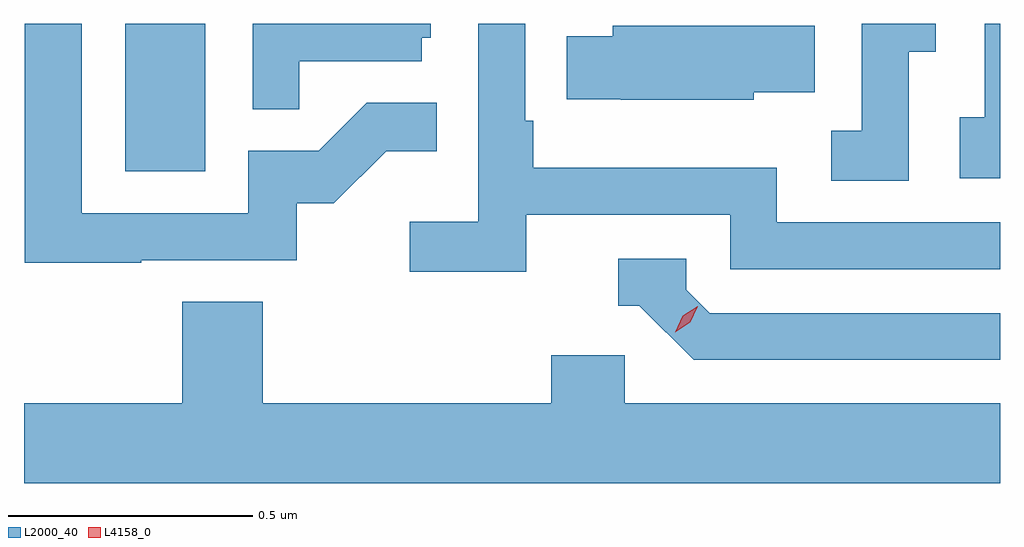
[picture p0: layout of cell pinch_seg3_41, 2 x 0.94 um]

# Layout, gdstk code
import gdstk
lib = gdstk.Library(unit=1e-6, precision=1e-09)
def R(c, l, rs):  # rectangles x0, y0, x1, y1
    for r in rs: c.add(gdstk.rectangle(r[:2], r[2:], *l))
def P(c, l, *ps):  # polygons
    for p in ps: c.add(gdstk.Polygon(p, *l))
L2000_40 = (2000, 40)
L4158_0 = (4158, 0)

pinch_seg3_41 = lib.new_cell('pinch_seg3_41')
R(pinch_seg3_41, L2000_40, [(1113.038,736.188,1113.202,736.49)])
P(pinch_seg3_41, L2000_40, [(1113.395,736.413),(1113.646,736.413),(1113.646,736.461),(1113.664,736.461),(1113.664,736.49),(1113.3,736.49),(1113.3,736.315),(1113.395,736.315)],
  [(1113.071,736.005),(1113.39,736.005),(1113.39,736.122),(1113.466,736.122),(1113.573,736.229),(1113.677,736.229),(1113.677,736.328),(1113.533,736.328),(1113.435,736.23),(1113.291,736.23),(1113.291,736.101),(1112.949,736.101),(1112.949,736.49),(1112.833,736.49),(1112.833,736),(1113.071,736)],
  [(1114.644,736.432),(1114.699,736.432),(1114.699,736.49),(1114.548,736.49),(1114.548,736.271),(1114.485,736.271),(1114.485,736.168),(1114.644,736.168)],
  [(1113.86,736.098),(1114.278,736.098),(1114.278,735.987),(1114.831,735.987),(1114.831,736.083),(1114.374,736.083),(1114.374,736.195),(1113.875,736.195),(1113.875,736.291),(1113.858,736.291),(1113.858,736.49),(1113.762,736.49),(1113.762,736.084),(1113.621,736.084),(1113.621,735.982),(1113.86,735.982)],
  [(1114.831,736.49),(1114.8,736.49),(1114.8,736.298),(1114.749,736.298),(1114.749,736.173),(1114.831,736.173)],
  [(1114.326,736.349),(1114.451,736.349),(1114.451,736.486),(1114.037,736.486),(1114.037,736.464),(1113.943,736.464),(1113.943,736.335),(1114.054,736.335),(1114.054,736.334),(1114.326,736.334)],
  [(1114.831,735.897),(1114.236,735.897),(1114.188,735.945),(1114.188,736.008),(1114.049,736.008),(1114.049,735.912),(1114.092,735.912),(1114.203,735.801),(1114.831,735.801)],
  [(1114.831,735.712),(1114.062,735.712),(1114.062,735.81),(1113.911,735.81),(1113.911,735.712),(1113.32,735.712),(1113.32,735.92),(1113.155,735.92),(1113.155,735.712),(1112.831,735.712),(1112.831,735.548),(1114.831,735.548)])
P(pinch_seg3_41, L4158_0, [(1114.166,735.858),(1114.166,735.858),(1114.181,735.891),(1114.212,735.911),(1114.212,735.911),(1114.212,735.911),(1114.196,735.878),(1114.166,735.858)])

lib.write_gds('pinch_seg3_41.gds')
